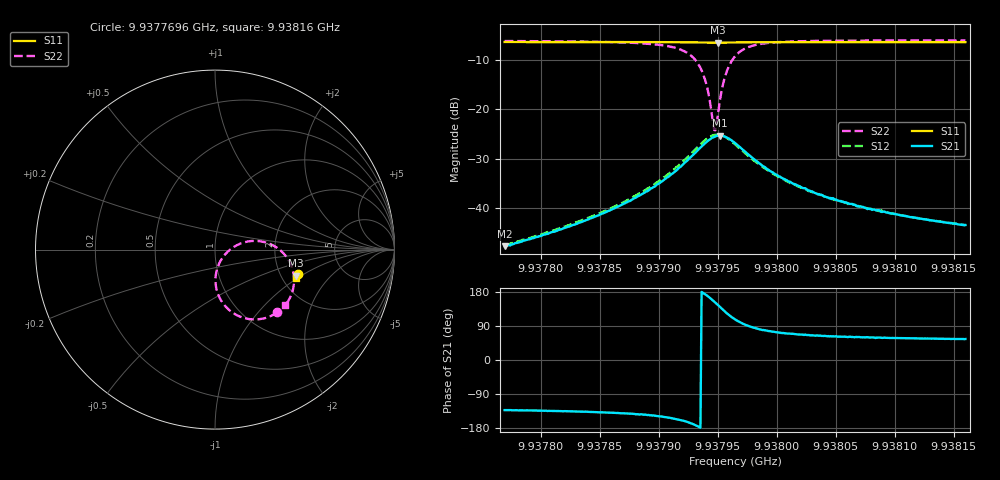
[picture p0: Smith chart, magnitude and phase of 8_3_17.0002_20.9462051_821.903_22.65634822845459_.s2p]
#  HZ  S  RI  R  50.00
! Rohde & Schwarz Vector Network Analyzer
! Rohde-Schwarz,ZNB20-2Port,1311601062101988,3.16
! Created: UTC 3/20/2024, 10:52:22 PM
! freq[Hz]  re:S11  im:S11  re:S21  im:S21  re:S12  im:S12  re:S22  im:S22
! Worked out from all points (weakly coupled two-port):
!   401 points, 9.9377696 GHz to 9.93816 GHz, reference 50 ohm
!   highest |S21| = -25.30 dB at 9.9379521 GHz (marker M1); lowest = -47.7 dB at 9.9377696 GHz (marker M2)
!   lowest |S11| = -6.5 dB at 9.9379501 GHz (marker M3), VSWR 2.80, Z = 120 - j45 ohm
!   |S11| at or under -10 dB: nowhere
!   |S22| runs from -24.2 to -6.0 dB; largest |S21 - S12| = 0.0074
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9.93776958e9  0.4617 -0.1364  -0.00278 -0.00305  -0.0029 -0.00309  0.3471 -0.3497
9.93783498e9  0.4596 -0.141  -0.00526 -0.005  -0.00558 -0.00512  0.3208 -0.3653
9.93787109e9  0.4584 -0.1436  -0.00864 -0.00705  -0.00916 -0.00719  0.2882 -0.3788
9.93790037e9  0.457 -0.1459  -0.0151 -0.00933  -0.0163 -0.00952  0.2284 -0.3893
9.93791891e9  0.4555 -0.1475  -0.0246 -0.00953  -0.0269 -0.00919  0.1451 -0.3756
9.93793062e9  0.4538 -0.1479  -0.0356 -0.00548  -0.0387 -0.00331  0.0592 -0.3174
9.9379355e9  0.4529 -0.1477  -0.041 -0.000925  -0.0442 0.00273  0.0229 -0.2624
9.9379394e9  0.4522 -0.1474  -0.0453 0.0052  -0.0477 0.0102  0.0046 -0.2004
9.93794233e9  0.4515 -0.147  -0.0473 0.0112  -0.0489 0.0172  0.00411 -0.144
9.93794624e9  0.4513 -0.1462  -0.0478 0.0205  -0.0472 0.0277  0.0293 -0.0652
9.93794721e9  0.4512 -0.1459  -0.0474 0.0231  -0.0462 0.0302  0.0413 -0.0461
9.93794819e9  0.4514 -0.1456  -0.0467 0.0256  -0.0449 0.0325  0.0543 -0.0291
9.93795014e9  0.4513 -0.145  -0.0446 0.0306  -0.0414 0.0372  0.0857 0.00146
9.93795209e9  0.4516 -0.1447  -0.0415 0.0351  -0.0371 0.0408  0.1229 0.0252
9.93795697e9  0.4526 -0.1437  -0.0307 0.0426  -0.0253 0.0458  0.2217 0.0485
9.93796478e9  0.4543 -0.1437  -0.0136 0.0436  -0.00924 0.0434  0.3446 0.0108
9.93797259e9  0.4557 -0.1447  -0.00283 0.0379  -0.000151 0.0367  0.406 -0.0524
9.9379843e9  0.4563 -0.1464  0.00403 0.0288  0.00516 0.0278  0.4365 -0.1287
9.93800382e9  0.4562 -0.1487  0.00653 0.0194  0.00696 0.0189  0.4385 -0.2012
9.93803017e9  0.4559 -0.1511  0.00621 0.0134  0.00651 0.013  0.4268 -0.2473
9.93809556e9  0.454 -0.1561  0.0047 0.00757  0.00487 0.00748  0.4044 -0.2916
9.93815998e9  0.4522 -0.1603  0.00383 0.00555  0.00395 0.00548  0.3918 -0.3091
